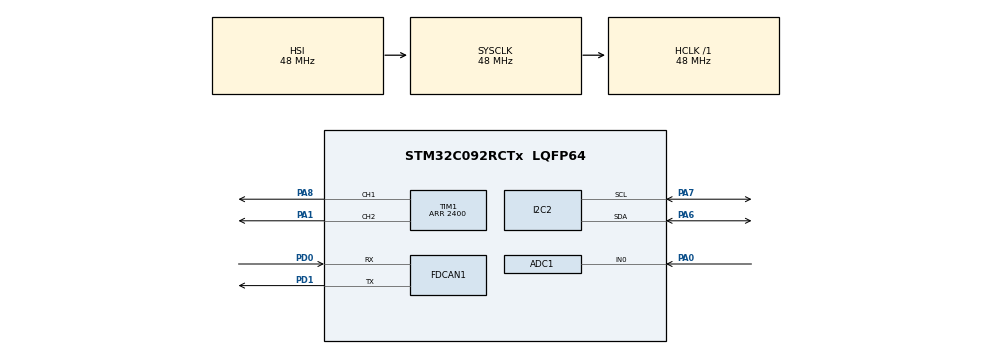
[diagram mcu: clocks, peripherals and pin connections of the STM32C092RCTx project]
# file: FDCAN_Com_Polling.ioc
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ADC1.NbrOfConversionFlag=0
ADC1.SelectedChannel=ADC_CHANNEL_0
ADC1.master=1
FDCAN1.AutoRetransmission=ENABLE
FDCAN1.CalculateBaudRateData=1000000
FDCAN1.CalculateBaudRateNominal=1000000
FDCAN1.CalculateTimeBitNominal=1000
FDCAN1.CalculateTimeQuantumNominal=20.833333333333332
FDCAN1.DataSyncJumpWidth=6
FDCAN1.DataTimeSeg1=17
FDCAN1.DataTimeSeg2=6
FDCAN1.FrameFormat=FDCAN_FRAME_FD_BRS
FDCAN1.NominalPrescaler=1
FDCAN1.NominalSyncJumpWidth=12
FDCAN1.NominalTimeSeg1=35
FDCAN1.NominalTimeSeg2=12
FDCAN1.StdFiltersNbr=1
FDCAN1.TransmitPause=ENABLE
I2C2.Timing=0x10805D88
Mcu.Family=STM32C0
Mcu.Name=STM32C092RCTx
Mcu.Package=LQFP64
NUCLEO-C092RC.LD1=true
NUCLEO-C092RC.LD2=true
NUCLEO-C092RC.VCP=true
NVIC.TIM2_IRQn=true\:0\:0\:false\:false\:true\:true\:true\:true
PA0.Mode=IN0
PA0.Signal=ADC1_IN0
PA1.Signal=S_TIM1_CH2
PA6.Mode=I2C
PA6.Signal=I2C2_SDA
PA7.Mode=I2C
PA7.Signal=I2C2_SCL
PA8.Signal=S_TIM1_CH1
PD0.Mode=FDCAN_Activate
PD0.Signal=FDCAN1_RX
PD1.Mode=FDCAN_Activate
PD1.Signal=FDCAN1_TX
ProjectManager.HeapSize=0x200
ProjectManager.StackSize=0x400
ProjectManager.TargetToolchain=STM32CubeIDE
RCC.ADCFreq_Value=48000000
RCC.AHBFreq_Value=48000000
RCC.CortexFreq_Value=48000000
RCC.EXTERNAL_CLOCK_VALUE=12288000
RCC.HCLKFreq_Value=48000000
RCC.HSE_VALUE=8000000
RCC.HSISYSCLKDivider=RCC_HSI_DIV1
RCC.HSI_VALUE=48000000
RCC.LSE_VALUE=32768
RCC.SYSCLKFreq_VALUE=48000000
SH.S_TIM1_CH1.0=TIM1_CH1,PWM Generation1 CH1
SH.S_TIM1_CH2.0=TIM1_CH2,PWM Generation2 CH2
TIM1.Channel-PWM\ Generation1\ CH1=TIM_CHANNEL_1
TIM1.Channel-PWM\ Generation2\ CH2=TIM_CHANNEL_2
TIM1.Period=2400
TIM2.Period=48000
VP_NUCLEO-C092RC_VS_BSP_COMMON.Mode=COMMON
VP_TIM2_VS_ClockSourceINT.Mode=Internal
board=NUCLEO-C092RC

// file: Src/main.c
/* USER CODE BEGIN Header */
/**
  ******************************************************************************
  * @file    FDCAN/FDCAN_Com_Polling/Src/main.c
  * @author  MCD Application Team
  * @brief   This sample code shows how to achieve Polling Process Communication
  *          between two FDCAN units.
  ******************************************************************************
  * @attention
  *
  * Copyright (c) 2024 STMicroelectronics.
  * All rights reserved.
  *
  * This software is licensed under terms that can be found in the LICENSE file
  * in the root directory of this software component.
  * If no LICENSE file comes with this software, it is provided AS-IS.
  *
  ******************************************************************************
  */
/* USER CODE END Header */
#include "main.h"

/* USER CODE BEGIN Includes */
#include <string.h>
#include <stdio.h>

/* USER CODE END Includes */

/* USER CODE BEGIN PD */
#define TX_ID          (0x111)   /* TX CAN message identifier    */
#define RX_ID          (0x111)   /* RX CAN message identifier    */
#define INA219_ADDR 0x40
#define INA219_REG_CONFIG 0x00
#define INA219_REG_CURRENT 0x04
#define INA219_REG_CALIBRATION 0x05
#define NUM_SAMPLES 400
#define PWM_MAX 2400
#define KP -0.5f
#define KI -0.001f
#define POT_MIN 100
#define POT_MAX 3900
/* USER CODE END PD */

/* USER CODE BEGIN PM */
#define COUNTOF(BUFFER) (sizeof((BUFFER)) / sizeof(*(BUFFER)))
/* USER CODE END PM */

COM_InitTypeDef BspCOMInit;
ADC_HandleTypeDef hadc1;

FDCAN_HandleTypeDef hfdcan1;

I2C_HandleTypeDef hi2c2;

TIM_HandleTypeDef htim1;
TIM_HandleTypeDef htim2;

/* USER CODE BEGIN PV */
FDCAN_RxHeaderTypeDef rxHeader;
FDCAN_TxHeaderTypeDef txHeader;
uint8_t rxData[16U];
static const uint8_t txData[] = {0x10, 0x32, 0x54, 0x76, 0x98, 0x00, 0x11, 0x22,
                                 0x33, 0x44, 0x55, 0x66, 0x77, 0x88, 0x99, 0x00
                                };
volatile int currentTest = 0;
int desiredLog[NUM_SAMPLES];
int actualLog[NUM_SAMPLES];
int sampleIndex = 0;
float integral = 0.0f;

/* USER CODE END PV */

void SystemClock_Config(void);
static void MX_GPIO_Init(void);
static void MX_FDCAN1_Init(void);
static void MX_ADC1_Init(void);
static void MX_I2C2_Init(void);
static void MX_TIM1_Init(void);
static void MX_TIM2_Init(void);
/* USER CODE BEGIN PFP */
static uint32_t BufferCmp8b(const uint8_t *pBuffer1, const uint8_t *pBuffer2, uint16_t BufferLength);
void writeINA219(int reg, int value);
signed short readINA219(unsigned char reg);
void init_ina219(void);
float read_ina219(void);
uint32_t read_pot(void);
void set_pwm(int duty);

/* USER CODE END PFP */

/* USER CODE BEGIN 0 */
void writeINA219(int reg, int value) {
    uint8_t buf[3];
    buf[0] = reg;
    buf[1] = value >> 8;
    buf[2] = value & 0xff;
    HAL_I2C_Master_Transmit(&hi2c2, INA219_ADDR << 1, buf, 3, 10);
}

signed short readINA219(unsigned char reg) {
    HAL_I2C_Master_Transmit(&hi2c2, INA219_ADDR << 1, &reg, 1, 10);
    uint8_t buffer[2];
    HAL_I2C_Master_Receive(&hi2c2, INA219_ADDR << 1, buffer, 2, 10);
    return (signed short)((buffer[0] << 8) | buffer[1]);
}

void init_ina219(void) {
    unsigned short calValue = 1024;
    unsigned short config = 0b0011000010001111;
    writeINA219(INA219_REG_CALIBRATION, calValue);
    writeINA219(INA219_REG_CONFIG, config);
}

float read_ina219(void) {
    signed short value = readINA219(INA219_REG_CURRENT);
    return value / 3.0f;
}

uint32_t read_pot(void) {
    uint32_t raw = 0;
    HAL_ADC_Start(&hadc1);
    if (HAL_ADC_PollForConversion(&hadc1, 10) == HAL_OK) {
        raw = HAL_ADC_GetValue(&hadc1);
    }
    HAL_ADC_Stop(&hadc1);
    return raw;
}

void set_pwm(int duty) {
    if (duty > PWM_MAX) duty = PWM_MAX;
    if (duty < -PWM_MAX) duty = -PWM_MAX;
    if (duty >= 0) {
        __HAL_TIM_SET_COMPARE(&htim1, TIM_CHANNEL_1, PWM_MAX - duty);
        __HAL_TIM_SET_COMPARE(&htim1, TIM_CHANNEL_2, PWM_MAX);
    } else {
        __HAL_TIM_SET_COMPARE(&htim1, TIM_CHANNEL_1, PWM_MAX);
        __HAL_TIM_SET_COMPARE(&htim1, TIM_CHANNEL_2, PWM_MAX - (-duty));
    }
}

void HAL_TIM_PeriodElapsedCallback(TIM_HandleTypeDef *htim) {
    if (htim == &htim2) {
        static int counter = 0;
        if (currentTest == 1) {
        	// temporarily disabled for testing
        	// uint32_t pot = read_pot();
        	// if (pot < POT_MIN || pot > POT_MAX) {
        	//     set_pwm(0);
        	//     currentTest = 0;
        	//     counter = 0;
        	//     integral = 0.0f;
        	//     sampleIndex = 0;
        	//     return;
        	// }
            int desired = ((counter / 100) % 2 == 0) ? 300 : -300;
            signed short actual = readINA219(INA219_REG_CURRENT);
            float error = (float)(desired - actual);
            integral += error;
            if (integral > 400000.0f) integral = 400000.0f;
            if (integral < -400000.0f) integral = -400000.0f;
            int duty = (int)(KP * error + KI * integral);
            set_pwm(duty);
            if (sampleIndex < NUM_SAMPLES) {
                desiredLog[sampleIndex] = desired;
                actualLog[sampleIndex] = actual;
                sampleIndex++;
            }
            counter++;
            if (sampleIndex >= NUM_SAMPLES) {
                set_pwm(0);
                currentTest = 0;
                counter = 0;
                integral = 0.0f;
            }
        }
    }
}

/* USER CODE END 0 */

int main(void)
{

  /* USER CODE BEGIN 1 */

  /* STM32C0xx HAL library initialization:
       - Configure the Flash prefetch
       - Systick timer is configured by default as source of time base, but user
         can eventually implement his proper time base source (a general purpose
         timer for example or other time source), keeping in mind that Time base
         duration should be kept 1ms since PPP_TIMEOUT_VALUEs are defined and
         handled in milliseconds basis.
       - Low Level Initialization
     */
  /* USER CODE END 1 */

  /* MCU Configuration--------------------------------------------------------*/

  /* Reset of all peripherals, Initializes the Flash interface and the Systick. */
  HAL_Init();

  /* Configure the system clock */
  SystemClock_Config();

  /* USER CODE BEGIN SysInit */
  /* Configure LED1 and LED2 */
  BSP_LED_Init(LED1);
  BSP_LED_Init(LED2);

  /* Configure User push-button in interrupt mode */
  BSP_PB_Init(BUTTON_USER, BUTTON_MODE_EXTI);

  /* USER CODE END SysInit */

  /* Initialize all configured peripherals */
  MX_GPIO_Init();
  MX_FDCAN1_Init();
  MX_ADC1_Init();
  MX_I2C2_Init();
  MX_TIM1_Init();
  MX_TIM2_Init();
  /* USER CODE BEGIN 2 */
  init_ina219();
  HAL_TIM_PWM_Start(&htim1, TIM_CHANNEL_1);
  HAL_TIM_PWM_Start(&htim1, TIM_CHANNEL_2);
  __HAL_TIM_SET_COMPARE(&htim1, TIM_CHANNEL_1, PWM_MAX);
  __HAL_TIM_SET_COMPARE(&htim1, TIM_CHANNEL_2, PWM_MAX);
  HAL_TIM_Base_Start_IT(&htim2);

  /* Configure reception filter to Rx FIFO 0 */
  FDCAN_FilterTypeDef        sFilterConfig;
  sFilterConfig.IdType       = FDCAN_STANDARD_ID;
  sFilterConfig.FilterIndex  = 0U;
  sFilterConfig.FilterType   = FDCAN_FILTER_MASK;
  sFilterConfig.FilterConfig = FDCAN_FILTER_TO_RXFIFO0;
  sFilterConfig.FilterID1    = TX_ID;
  sFilterConfig.FilterID2    = 0x7FF;
  if (HAL_FDCAN_ConfigFilter(&hfdcan1, &sFilterConfig) != HAL_OK)
  {
    Error_Handler();
  }

  /**
    *  Configure global filter:
    *    - Filter all remote frames with STD and EXT ID
    *    - Reject non matching frames with STD ID and EXT ID
    */
  if (HAL_FDCAN_ConfigGlobalFilter(&hfdcan1,
                                   FDCAN_REJECT, FDCAN_REJECT,
                                   FDCAN_FILTER_REMOTE, FDCAN_FILTER_REMOTE) != HAL_OK)
  {
    Error_Handler();
  }

  /* Prepare Tx message Header */
  txHeader.Identifier          = TX_ID;
  txHeader.IdType              = FDCAN_STANDARD_ID;
  txHeader.TxFrameType         = FDCAN_DATA_FRAME;
  txHeader.DataLength          = FDCAN_DLC_BYTES_16;
  txHeader.ErrorStateIndicator = FDCAN_ESI_ACTIVE;
  txHeader.BitRateSwitch       = FDCAN_BRS_ON;
  txHeader.FDFormat            = FDCAN_FD_CAN;
  txHeader.TxEventFifoControl  = FDCAN_NO_TX_EVENTS;
  txHeader.MessageMarker       = 0U;

  /**
    * Configure and enable Tx Delay Compensation, required for BRS mode.
    * TdcOffset default recommended value: DataTimeSeg1 * DataPrescaler
    * TdcFilter default recommended value: 0
    */
  if (HAL_FDCAN_ConfigTxDelayCompensation(&hfdcan1,
                                          (hfdcan1.Init.DataPrescaler * hfdcan1.Init.DataTimeSeg1), 0U) != HAL_OK)
  {
    Error_Handler();
  }

  if (HAL_FDCAN_EnableTxDelayCompensation(&hfdcan1) != HAL_OK)
  {
    Error_Handler();
  }

  /* Start FDCAN controller */
  if (HAL_FDCAN_Start(&hfdcan1) != HAL_OK)
  {
    Error_Handler();
  }
  /* USER CODE END 2 */

  /* Initialize leds */
  BSP_LED_Init(LED_GREEN);
  BSP_LED_Init(LED_BLUE);

  /* Initialize COM1 port (115200, 8 bits (7-bit data + 1 stop bit), no parity */
  BspCOMInit.BaudRate   = 115200;
  BspCOMInit.WordLength = COM_WORDLENGTH_8B;
  BspCOMInit.StopBits   = COM_STOPBITS_1;
  BspCOMInit.Parity     = COM_PARITY_NONE;
  BspCOMInit.HwFlowCtl  = COM_HWCONTROL_NONE;
  if (BSP_COM_Init(COM1, &BspCOMInit) != BSP_ERROR_NONE)
  {
    Error_Handler();
  }

  /* Infinite loop */
  /* USER CODE BEGIN WHILE */
  uint8_t rx;

  while (1) {
      HAL_UART_Receive(&hcom_uart[COM1], &rx, 1, HAL_MAX_DELAY);
      if (rx == 'a') {
          sampleIndex = 0;
          integral = 0.0f;
          currentTest = 1;
          while (currentTest == 1) { __NOP(); }
          for (int i = 0; i < NUM_SAMPLES; i++) {
              printf("%d %d %d\r\n", i, desiredLog[i], actualLog[i]);
              HAL_Delay(2);
          }
      }
    /* USER CODE END WHILE */

  }
}

void SystemClock_Config(void)
{
  RCC_OscInitTypeDef RCC_OscInitStruct = {0};
  RCC_ClkInitTypeDef RCC_ClkInitStruct = {0};

  __HAL_FLASH_SET_LATENCY(FLASH_LATENCY_1);

  /** Initializes the RCC Oscillators according to the specified parameters
  * in the RCC_OscInitTypeDef structure.
  */
  RCC_OscInitStruct.OscillatorType = RCC_OSCILLATORTYPE_HSI;
  RCC_OscInitStruct.HSIState = RCC_HSI_ON;
  RCC_OscInitStruct.HSIDiv = RCC_HSI_DIV1;
  RCC_OscInitStruct.HSICalibrationValue = RCC_HSICALIBRATION_DEFAULT;
  if (HAL_RCC_OscConfig(&RCC_OscInitStruct) != HAL_OK)
  {
    Error_Handler();
  }

  /** Initializes the CPU, AHB and APB buses clocks
  */
  RCC_ClkInitStruct.ClockType = RCC_CLOCKTYPE_HCLK|RCC_CLOCKTYPE_SYSCLK
                              |RCC_CLOCKTYPE_PCLK1;
  RCC_ClkInitStruct.SYSCLKSource = RCC_SYSCLKSOURCE_HSI;
  RCC_ClkInitStruct.SYSCLKDivider = RCC_SYSCLK_DIV1;
  RCC_ClkInitStruct.AHBCLKDivider = RCC_HCLK_DIV1;
  RCC_ClkInitStruct.APB1CLKDivider = RCC_APB1_DIV1;

  if (HAL_RCC_ClockConfig(&RCC_ClkInitStruct, FLASH_LATENCY_1) != HAL_OK)
  {
    Error_Handler();
  }
}

static void MX_ADC1_Init(void)
{

  ADC_ChannelConfTypeDef sConfig = {0};

  /** Configure the global features of the ADC (Clock, Resolution, Data Alignment and number of conversion)
  */
  hadc1.Instance = ADC1;
  hadc1.Init.ClockPrescaler = ADC_CLOCK_SYNC_PCLK_DIV2;
  hadc1.Init.Resolution = ADC_RESOLUTION_12B;
  hadc1.Init.DataAlign = ADC_DATAALIGN_RIGHT;
  hadc1.Init.ScanConvMode = ADC_SCAN_SEQ_FIXED;
  hadc1.Init.EOCSelection = ADC_EOC_SINGLE_CONV;
  hadc1.Init.LowPowerAutoWait = DISABLE;
  hadc1.Init.LowPowerAutoPowerOff = DISABLE;
  hadc1.Init.ContinuousConvMode = DISABLE;
  hadc1.Init.NbrOfConversion = 1;
  hadc1.Init.DiscontinuousConvMode = DISABLE;
  hadc1.Init.ExternalTrigConv = ADC_SOFTWARE_START;
  hadc1.Init.ExternalTrigConvEdge = ADC_EXTERNALTRIGCONVEDGE_NONE;
  hadc1.Init.DMAContinuousRequests = DISABLE;
  hadc1.Init.Overrun = ADC_OVR_DATA_PRESERVED;
  hadc1.Init.SamplingTimeCommon1 = ADC_SAMPLETIME_1CYCLE_5;
  hadc1.Init.OversamplingMode = DISABLE;
  hadc1.Init.TriggerFrequencyMode = ADC_TRIGGER_FREQ_HIGH;
  if (HAL_ADC_Init(&hadc1) != HAL_OK)
  {
    Error_Handler();
  }

  /** Configure Regular Channel
  */
  sConfig.Channel = ADC_CHANNEL_0;
  sConfig.Rank = ADC_RANK_CHANNEL_NUMBER;
  if (HAL_ADC_ConfigChannel(&hadc1, &sConfig) != HAL_OK)
  {
    Error_Handler();
  }

}

static void MX_FDCAN1_Init(void)
{

  hfdcan1.Instance = FDCAN1;
  hfdcan1.Init.ClockDivider = FDCAN_CLOCK_DIV1;
  hfdcan1.Init.FrameFormat = FDCAN_FRAME_FD_BRS;
  hfdcan1.Init.Mode = FDCAN_MODE_NORMAL;
  hfdcan1.Init.AutoRetransmission = ENABLE;
  hfdcan1.Init.TransmitPause = ENABLE;
  hfdcan1.Init.ProtocolException = DISABLE;
  hfdcan1.Init.NominalPrescaler = 1;
  hfdcan1.Init.NominalSyncJumpWidth = 12;
  hfdcan1.Init.NominalTimeSeg1 = 35;
  hfdcan1.Init.NominalTimeSeg2 = 12;
  hfdcan1.Init.DataPrescaler = 1;
  hfdcan1.Init.DataSyncJumpWidth = 6;
  hfdcan1.Init.DataTimeSeg1 = 17;
  hfdcan1.Init.DataTimeSeg2 = 6;
  hfdcan1.Init.StdFiltersNbr = 1;
  hfdcan1.Init.ExtFiltersNbr = 0;
  hfdcan1.Init.TxFifoQueueMode = FDCAN_TX_FIFO_OPERATION;
  if (HAL_FDCAN_Init(&hfdcan1) != HAL_OK)
  {
    Error_Handler();
  }

}

static void MX_I2C2_Init(void)
{

  hi2c2.Instance = I2C2;
  hi2c2.Init.Timing = 0x10805D88;
  hi2c2.Init.OwnAddress1 = 0;
  hi2c2.Init.AddressingMode = I2C_ADDRESSINGMODE_7BIT;
  hi2c2.Init.DualAddressMode = I2C_DUALADDRESS_DISABLE;
  hi2c2.Init.OwnAddress2 = 0;
  hi2c2.Init.OwnAddress2Masks = I2C_OA2_NOMASK;
  hi2c2.Init.GeneralCallMode = I2C_GENERALCALL_DISABLE;
  hi2c2.Init.NoStretchMode = I2C_NOSTRETCH_DISABLE;
  if (HAL_I2C_Init(&hi2c2) != HAL_OK)
  {
    Error_Handler();
  }

  /** Configure Analogue filter
  */
  if (HAL_I2CEx_ConfigAnalogFilter(&hi2c2, I2C_ANALOGFILTER_ENABLE) != HAL_OK)
  {
    Error_Handler();
  }

  /** Configure Digital filter
  */
  if (HAL_I2CEx_ConfigDigitalFilter(&hi2c2, 0) != HAL_OK)
  {
    Error_Handler();
  }

}

static void MX_TIM1_Init(void)
{

  TIM_MasterConfigTypeDef sMasterConfig = {0};
  TIM_OC_InitTypeDef sConfigOC = {0};
  TIM_BreakDeadTimeConfigTypeDef sBreakDeadTimeConfig = {0};

  htim1.Instance = TIM1;
  htim1.Init.Prescaler = 0;
  htim1.Init.CounterMode = TIM_COUNTERMODE_UP;
  htim1.Init.Period = 2400;
  htim1.Init.ClockDivision = TIM_CLOCKDIVISION_DIV1;
  htim1.Init.RepetitionCounter = 0;
  htim1.Init.AutoReloadPreload = TIM_AUTORELOAD_PRELOAD_DISABLE;
  if (HAL_TIM_PWM_Init(&htim1) != HAL_OK)
  {
    Error_Handler();
  }
  sMasterConfig.MasterOutputTrigger = TIM_TRGO_RESET;
  sMasterConfig.MasterOutputTrigger2 = TIM_TRGO2_RESET;
  sMasterConfig.MasterSlaveMode = TIM_MASTERSLAVEMODE_DISABLE;
  if (HAL_TIMEx_MasterConfigSynchronization(&htim1, &sMasterConfig) != HAL_OK)
  {
    Error_Handler();
  }
  sConfigOC.OCMode = TIM_OCMODE_PWM1;
  sConfigOC.Pulse = 0;
  sConfigOC.OCPolarity = TIM_OCPOLARITY_HIGH;
  sConfigOC.OCNPolarity = TIM_OCNPOLARITY_HIGH;
  sConfigOC.OCFastMode = TIM_OCFAST_DISABLE;
  sConfigOC.OCIdleState = TIM_OCIDLESTATE_RESET;
  sConfigOC.OCNIdleState = TIM_OCNIDLESTATE_RESET;
  if (HAL_TIM_PWM_ConfigChannel(&htim1, &sConfigOC, TIM_CHANNEL_1) != HAL_OK)
  {
    Error_Handler();
  }
  if (HAL_TIM_PWM_ConfigChannel(&htim1, &sConfigOC, TIM_CHANNEL_2) != HAL_OK)
  {
    Error_Handler();
  }
  sBreakDeadTimeConfig.OffStateRunMode = TIM_OSSR_DISABLE;
  sBreakDeadTimeConfig.OffStateIDLEMode = TIM_OSSI_DISABLE;
  sBreakDeadTimeConfig.LockLevel = TIM_LOCKLEVEL_OFF;
  sBreakDeadTimeConfig.DeadTime = 0;
  sBreakDeadTimeConfig.BreakState = TIM_BREAK_DISABLE;
  sBreakDeadTimeConfig.BreakPolarity = TIM_BREAKPOLARITY_HIGH;
  sBreakDeadTimeConfig.BreakFilter = 0;
  sBreakDeadTimeConfig.BreakAFMode = TIM_BREAK_AFMODE_INPUT;
  sBreakDeadTimeConfig.Break2State = TIM_BREAK2_DISABLE;
  sBreakDeadTimeConfig.Break2Polarity = TIM_BREAK2POLARITY_HIGH;
  sBreakDeadTimeConfig.Break2Filter = 0;
  sBreakDeadTimeConfig.Break2AFMode = TIM_BREAK_AFMODE_INPUT;
  sBreakDeadTimeConfig.AutomaticOutput = TIM_AUTOMATICOUTPUT_DISABLE;
  if (HAL_TIMEx_ConfigBreakDeadTime(&htim1, &sBreakDeadTimeConfig) != HAL_OK)
  {
    Error_Handler();
  }
  HAL_TIM_MspPostInit(&htim1);

}

static void MX_TIM2_Init(void)
{

  TIM_ClockConfigTypeDef sClockSourceConfig = {0};
  TIM_MasterConfigTypeDef sMasterConfig = {0};

  htim2.Instance = TIM2;
  htim2.Init.Prescaler = 0;
  htim2.Init.CounterMode = TIM_COUNTERMODE_UP;
  htim2.Init.Period = 48000;
  htim2.Init.ClockDivision = TIM_CLOCKDIVISION_DIV1;
  htim2.Init.AutoReloadPreload = TIM_AUTORELOAD_PRELOAD_DISABLE;
  if (HAL_TIM_Base_Init(&htim2) != HAL_OK)
  {
    Error_Handler();
  }
  sClockSourceConfig.ClockSource = TIM_CLOCKSOURCE_INTERNAL;
  if (HAL_TIM_ConfigClockSource(&htim2, &sClockSourceConfig) != HAL_OK)
  {
    Error_Handler();
  }
  sMasterConfig.MasterOutputTrigger = TIM_TRGO_RESET;
  sMasterConfig.MasterSlaveMode = TIM_MASTERSLAVEMODE_DISABLE;
  if (HAL_TIMEx_MasterConfigSynchronization(&htim2, &sMasterConfig) != HAL_OK)
  {
    Error_Handler();
  }

}

static void MX_GPIO_Init(void)
{

  /* GPIO Ports Clock Enable */
  __HAL_RCC_GPIOA_CLK_ENABLE();
  __HAL_RCC_GPIOD_CLK_ENABLE();

}

/* USER CODE BEGIN 4 */

/**
  * @brief  BSP User push-button callback
  * @param  Button Specifies the pin connected EXTI line
  * @retval None.
  */
void BSP_PB_Callback(Button_TypeDef Button)
{
  if (Button == BUTTON_USER)
  {
    /* Turn LED1 off */
    BSP_LED_Off(LED1);

    /* Add message to TX FIFO */
    if (HAL_FDCAN_AddMessageToTxFifoQ(&hfdcan1, &txHeader, txData) != HAL_OK)
    {
      Error_Handler();
    }

    /* Delay for simple button debounce */
    HAL_Delay(100U);
  }
}

/**
  * @brief  Compares two buffers.
  * @param  pBuffer1 buffer to be compared.
  * @param  pBuffer2 buffer to be compared.
  * @param  BufferLength: buffer's length.
  * @retval 0: pBuffer1 is identical to pBuffer2
  * @retval 1: pBuffer1 differs from pBuffer2
  */
static uint32_t BufferCmp8b(const uint8_t *pBuffer1, const uint8_t *pBuffer2, uint16_t BufferLength)
{
  while (BufferLength--)
  {
    if (*pBuffer1 != *pBuffer2)
    {
      return 1U;
    }

    pBuffer1++;
    pBuffer2++;
  }
  return 0U;
}
/* USER CODE END 4 */

void Error_Handler(void)
{
  /* USER CODE BEGIN Error_Handler_Debug */
  /* User can add his own implementation to report the HAL error return state */

  while (1)
  {
    /* Toggle LED2 on */
    BSP_LED_Toggle(LED2);

    /* 1s delay */
    HAL_Delay(1000U);
  }
  /* USER CODE END Error_Handler_Debug */
}
